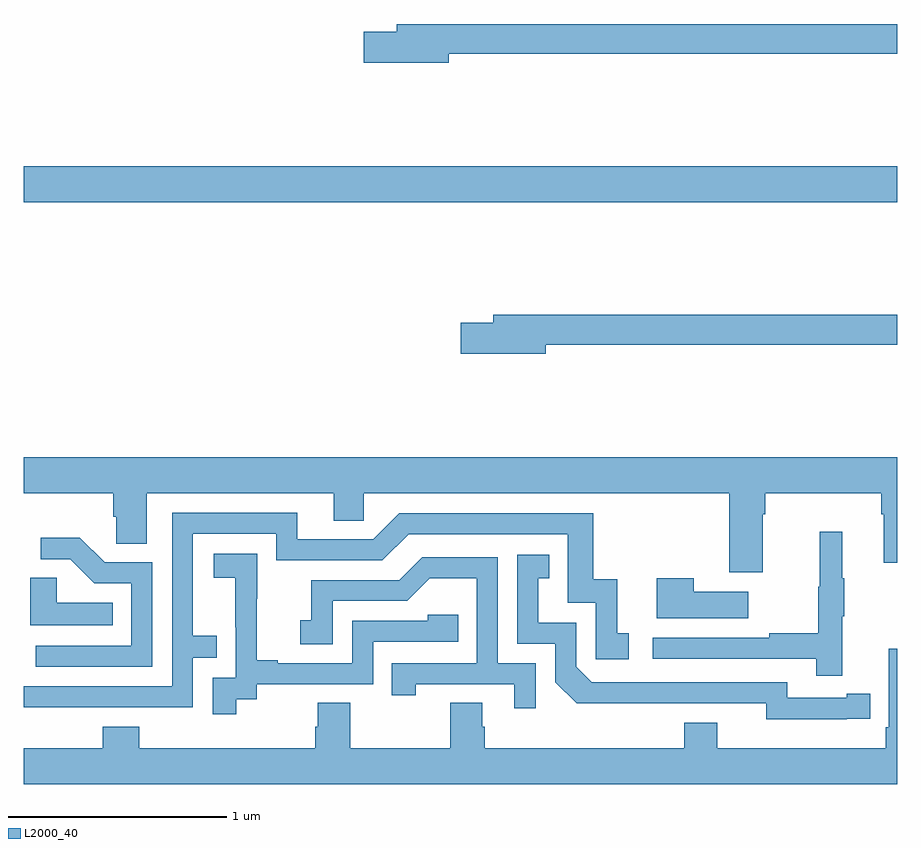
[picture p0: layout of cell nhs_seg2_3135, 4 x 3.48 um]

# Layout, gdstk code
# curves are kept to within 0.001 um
import gdstk
lib = gdstk.Library(unit=1e-6, precision=1e-09)
def R(c, l, rs):  # rectangles x0, y0, x1, y1
    for r in rs: c.add(gdstk.rectangle(r[:2], r[2:], *l))
def P(c, l, *ps):  # polygons
    for p in ps: c.add(gdstk.Polygon(p, *l))
L2000_40 = (2000, 40)

nhs_seg2_3135 = lib.new_cell('nhs_seg2_3135')
R(nhs_seg2_3135, L2000_40, [(275,660.956,279,661.12)])
P(nhs_seg2_3135, L2000_40, [(276.946,661.636),(279,661.636),(279,661.772),(276.707,661.772),(276.707,661.736),(276.558,661.736),(276.558,661.594),(276.946,661.594)],
  [(277.39,660.304),(279,660.304),(279,660.44),(277.151,660.44),(277.151,660.404),(277.002,660.404),(277.002,660.262),(277.39,660.262)],
  [(278.383,659.528),(278.396,659.528),(278.396,659.624),(278.927,659.624),(278.927,659.528),(278.939,659.528),(278.939,659.304),(279,659.304),(279,659.788),(275,659.788),(275,659.624),(275.411,659.624),(275.411,659.515),(275.424,659.515),(275.424,659.392),(275.563,659.392),(275.563,659.624),(276.419,659.624),(276.419,659.497),(276.558,659.497),(276.558,659.624),(278.231,659.624),(278.231,659.262),(278.383,659.262)],
  [(275.279,658.644),(275.775,658.644),(275.775,658.869),(275.885,658.869),(275.885,658.97),(275.775,658.97),(275.775,659.439),(276.156,659.439),(276.156,659.316),(276.642,659.316),(276.762,659.436),(277.491,659.436),(277.491,659.121),(277.62,659.121),(277.62,658.863),(277.771,658.863),(277.771,658.983),(277.718,658.983),(277.718,659.23),(277.607,659.23),(277.607,659.532),(276.72,659.532),(276.6,659.412),(276.253,659.412),(276.253,659.535),(275.679,659.535),(275.679,658.74),(275,658.74),(275,658.643)],
  [(278.747,659.059),(278.758,659.059),(278.758,659.233),(278.747,659.233),(278.747,659.446),(278.644,659.446),(278.644,659.196),(278.637,659.196),(278.637,658.982),(278.413,658.982),(278.413,658.962),(277.881,658.962),(277.881,658.866),(278.629,658.866),(278.629,658.788),(278.747,658.788)],
  [(275.589,659.307),(275.37,659.307),(275.257,659.42),(275.079,659.42),(275.079,659.322),(275.213,659.322),(275.324,659.211),(275.493,659.211),(275.493,658.926),(275.055,658.926),(275.055,658.83),(275.589,658.83)],
  [(275.974,658.681),(276.066,658.681),(276.066,658.749),(276.6,658.749),(276.6,658.944),(276.989,658.944),(276.989,659.067),(276.849,659.067),(276.849,659.04),(276.504,659.04),(276.504,658.845),(276.163,658.845),(276.163,658.858),(276.068,658.858),(276.068,659.141),(276.069,659.141),(276.069,659.347),(275.871,659.347),(275.871,659.237),(275.969,659.237),(275.969,659.009),(275.97,659.009),(275.97,658.779),(275.865,658.779),(275.865,658.611),(275.974,658.611)],
  [(278.768,658.59),(278.876,658.59),(278.876,658.706),(278.768,658.706),(278.768,658.686),(278.496,658.686),(278.496,658.758),(277.602,658.758),(277.53,658.83),(277.53,659.031),(277.357,659.031),(277.357,659.235),(277.406,659.235),(277.406,659.341),(277.26,659.341),(277.26,658.935),(277.434,658.935),(277.434,658.758),(277.532,658.661),(278.4,658.662),(278.4,658.589)],
  [(277.344,658.845),(277.17,658.845),(277.17,659.331),(276.824,659.331),(276.719,659.226),(276.316,659.226),(276.316,659.041),(276.267,659.041),(276.267,658.932),(276.414,658.932),(276.414,659.13),(276.756,659.13),(276.86,659.234),(277.074,659.234),(277.074,658.845),(276.685,658.845),(276.685,658.698),(276.796,658.698),(276.796,658.749),(277.247,658.749),(277.247,658.638),(277.344,658.638)],
  [(275.408,659.122),(275.151,659.122),(275.151,659.237),(275.03,659.237),(275.03,659.018),(275.408,659.018)],
  [(278.317,659.173),(278.069,659.173),(278.069,659.233),(277.898,659.233),(277.898,659.051),(278.317,659.051)],
  [(279,658.912),(278.961,658.912),(278.961,658.552),(278.948,658.552),(278.948,658.456),(278.176,658.456),(278.176,658.573),(278.024,658.573),(278.024,658.456),(277.112,658.456),(277.112,658.554),(277.099,658.554),(277.099,658.664),(276.952,658.664),(276.952,658.456),(276.495,658.456),(276.495,658.664),(276.347,658.664),(276.347,658.554),(276.335,658.554),(276.335,658.456),(275.528,658.456),(275.528,658.555),(275.363,658.555),(275.363,658.456),(275,658.456),(275,658.292),(279,658.292)])

lib.write_gds('nhs_seg2_3135.gds')
